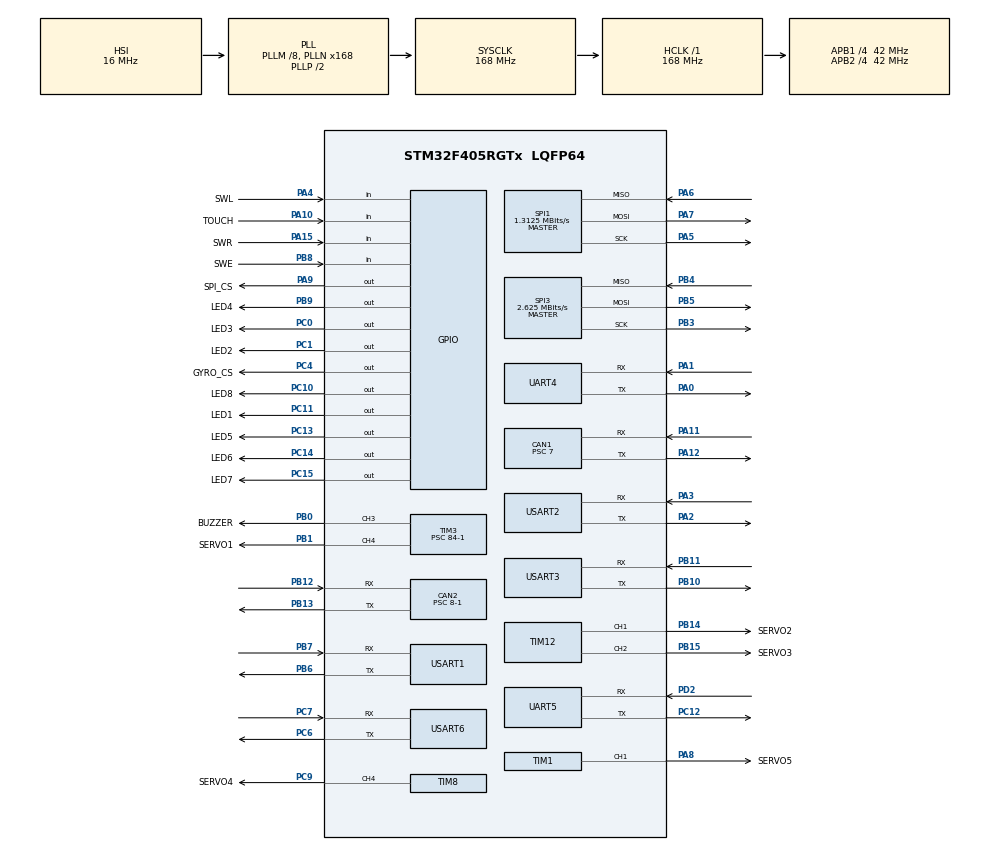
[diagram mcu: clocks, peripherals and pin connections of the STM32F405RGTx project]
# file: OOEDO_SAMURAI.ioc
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CAN1.ABOM=ENABLE
CAN1.BS1=CAN_BS1_2TQ
CAN1.BS2=CAN_BS2_3TQ
CAN1.CalculateTimeQuantum=166.66666666666669
CAN1.Prescaler=7
CAN1.TXFP=ENABLE
CAN2.ABOM=ENABLE
CAN2.BS1=CAN_BS1_2TQ
CAN2.BS2=CAN_BS2_3TQ
CAN2.CalculateTimeQuantum=166.66666666666669
CAN2.Prescaler=8-1
CAN2.TXFP=ENABLE
Dma.Request0=UART4_RX
Dma.Request1=UART4_TX
Dma.UART4_RX.0.Direction=DMA_PERIPH_TO_MEMORY
Dma.UART4_RX.0.FIFOMode=DMA_FIFOMODE_DISABLE
Dma.UART4_RX.0.Instance=DMA1_Stream2
Dma.UART4_RX.0.MemDataAlignment=DMA_MDATAALIGN_BYTE
Dma.UART4_RX.0.MemInc=DMA_MINC_ENABLE
Dma.UART4_RX.0.Mode=DMA_CIRCULAR
Dma.UART4_RX.0.PeriphDataAlignment=DMA_PDATAALIGN_BYTE
Dma.UART4_RX.0.PeriphInc=DMA_PINC_DISABLE
Dma.UART4_RX.0.Priority=DMA_PRIORITY_VERY_HIGH
Dma.UART4_TX.1.Direction=DMA_MEMORY_TO_PERIPH
Dma.UART4_TX.1.FIFOMode=DMA_FIFOMODE_DISABLE
Dma.UART4_TX.1.Instance=DMA1_Stream4
Dma.UART4_TX.1.MemDataAlignment=DMA_MDATAALIGN_BYTE
Dma.UART4_TX.1.MemInc=DMA_MINC_ENABLE
Dma.UART4_TX.1.Mode=DMA_NORMAL
Dma.UART4_TX.1.PeriphDataAlignment=DMA_PDATAALIGN_BYTE
Dma.UART4_TX.1.PeriphInc=DMA_PINC_DISABLE
Dma.UART4_TX.1.Priority=DMA_PRIORITY_LOW
Mcu.Family=STM32F4
Mcu.Name=STM32F405RGTx
Mcu.Package=LQFP64
NVIC.CAN1_RX0_IRQn=true\:2\:0\:true\:false\:true\:true\:true
NVIC.CAN1_RX1_IRQn=true\:2\:0\:true\:false\:true\:true\:true
NVIC.CAN2_RX0_IRQn=true\:2\:0\:true\:false\:true\:true\:true
NVIC.CAN2_RX1_IRQn=true\:2\:0\:true\:false\:true\:true\:true
NVIC.DMA1_Stream2_IRQn=true\:0\:0\:false\:false\:true\:false\:true
NVIC.DMA1_Stream4_IRQn=true\:0\:0\:false\:false\:true\:false\:true
NVIC.PriorityGroup=NVIC_PRIORITYGROUP_4
NVIC.TIM6_DAC_IRQn=true\:1\:0\:true\:false\:true\:true\:true
NVIC.TIM7_IRQn=true\:0\:0\:false\:false\:true\:true\:true
NVIC.UART5_IRQn=true\:0\:0\:true\:false\:true\:true\:true
NVIC.USART1_IRQn=true\:0\:0\:true\:false\:true\:true\:true
NVIC.USART2_IRQn=true\:0\:0\:true\:false\:true\:true\:true
NVIC.USART3_IRQn=true\:0\:0\:true\:false\:true\:true\:true
NVIC.USART6_IRQn=true\:0\:0\:true\:false\:true\:true\:true
PA0-WKUP.Mode=Asynchronous
PA0-WKUP.Signal=UART4_TX
PA1.Mode=Asynchronous
PA1.Signal=UART4_RX
PA10.GPIO_Label=TOUCH
PA10.GPIO_PuPd=GPIO_PULLUP
PA10.Signal=GPIO_Input
PA11.Mode=Master
PA11.Signal=CAN1_RX
PA12.Mode=Master
PA12.Signal=CAN1_TX
PA13.Mode=Serial_Wire
PA13.Signal=SYS_JTMS-SWDIO
PA14.Mode=Serial_Wire
PA14.Signal=SYS_JTCK-SWCLK
PA15.GPIO_Label=SWR
PA15.GPIO_PuPd=GPIO_PULLUP
PA15.Signal=GPIO_Input
PA2.Mode=Asynchronous
PA2.Signal=USART2_TX
PA3.Mode=Asynchronous
PA3.Signal=USART2_RX
PA4.GPIO_Label=SWL
PA4.GPIO_PuPd=GPIO_PULLUP
PA4.Signal=GPIO_Input
PA5.Mode=Full_Duplex_Master
PA5.Signal=SPI1_SCK
PA6.Mode=Full_Duplex_Master
PA6.Signal=SPI1_MISO
PA7.Mode=Full_Duplex_Master
PA7.Signal=SPI1_MOSI
PA8.GPIO_Label=SERVO5
PA8.Signal=S_TIM1_CH1
PA9.GPIO_Label=SPI_CS
PA9.Signal=GPIO_Output
PB0.GPIO_Label=BUZZER
PB0.Signal=S_TIM3_CH3
PB1.GPIO_Label=SERVO1
PB1.Signal=S_TIM3_CH4
PB10.Mode=Asynchronous
PB10.Signal=USART3_TX
PB11.Mode=Asynchronous
PB11.Signal=USART3_RX
PB12.Mode=Slave
PB12.Signal=CAN2_RX
PB13.Mode=Slave
PB13.Signal=CAN2_TX
PB14.GPIO_Label=SERVO2
PB14.Signal=S_TIM12_CH1
PB15.GPIO_Label=SERVO3
PB15.Signal=S_TIM12_CH2
PB3.Mode=Full_Duplex_Master
PB3.Signal=SPI3_SCK
PB4.Mode=Full_Duplex_Master
PB4.Signal=SPI3_MISO
PB5.Mode=Full_Duplex_Master
PB5.Signal=SPI3_MOSI
PB6.Mode=Asynchronous
PB6.Signal=USART1_TX
PB7.Mode=Asynchronous
PB7.Signal=USART1_RX
PB8.GPIO_Label=SWE
PB8.GPIO_PuPd=GPIO_PULLUP
PB8.Signal=GPIO_Input
PB9.GPIO_Label=LED4
PB9.Signal=GPIO_Output
PC0.GPIO_Label=LED3
PC0.Signal=GPIO_Output
PC1.GPIO_Label=LED2
PC1.GPIO_PuPd=GPIO_PULLDOWN
PC1.Signal=GPIO_Output
PC10.GPIO_Label=LED8
PC10.Signal=GPIO_Output
PC11.GPIO_Label=LED1
PC11.Signal=GPIO_Output
PC12.Mode=Asynchronous
PC12.Signal=UART5_TX
PC13-ANTI_TAMP.GPIO_Label=LED5
PC13-ANTI_TAMP.Signal=GPIO_Output
PC14-OSC32_IN.GPIO_Label=LED6
PC14-OSC32_IN.Signal=GPIO_Output
PC15-OSC32_OUT.GPIO_Label=LED7
PC15-OSC32_OUT.Signal=GPIO_Output
PC4.GPIO_Label=GYRO_CS
PC4.Signal=GPIO_Output
PC6.Mode=Asynchronous
PC6.Signal=USART6_TX
PC7.Mode=Asynchronous
PC7.Signal=USART6_RX
PC9.GPIO_Label=SERVO4
PC9.Signal=S_TIM8_CH4
PD2.Mode=Asynchronous
PD2.Signal=UART5_RX
PH0-OSC_IN.Mode=HSE-External-Oscillator
PH0-OSC_IN.Signal=RCC_OSC_IN
PH1-OSC_OUT.Mode=HSE-External-Oscillator
PH1-OSC_OUT.Signal=RCC_OSC_OUT
ProjectManager.HeapSize=0x200
ProjectManager.StackSize=0x400
ProjectManager.TargetToolchain=STM32CubeIDE
RCC.48MHZClocksFreq_Value=84000000
RCC.AHBFreq_Value=168000000
RCC.APB1CLKDivider=RCC_HCLK_DIV4
RCC.APB1Freq_Value=42000000
RCC.APB1TimFreq_Value=84000000
RCC.APB2CLKDivider=RCC_HCLK_DIV4
RCC.APB2Freq_Value=42000000
RCC.APB2TimFreq_Value=84000000
RCC.CortexFreq_Value=168000000
RCC.HCLKFreq_Value=168000000
RCC.HSE_VALUE=12000000
RCC.HSI_VALUE=16000000
RCC.LSE_VALUE=32768
RCC.PLLM=8
RCC.PLLN=168
RCC.SYSCLKFreq_VALUE=168000000
RCC.SYSCLKSource=RCC_SYSCLKSOURCE_PLLCLK
RCC.VCOOutputFreq_Value=336000000
SH.S_TIM12_CH1.0=TIM12_CH1,PWM Generation1 CH1
SH.S_TIM12_CH2.0=TIM12_CH2,PWM Generation2 CH2
SH.S_TIM1_CH1.0=TIM1_CH1,PWM Generation1 CH1
SH.S_TIM3_CH3.0=TIM3_CH3,PWM Generation3 CH3
SH.S_TIM3_CH4.0=TIM3_CH4,PWM Generation4 CH4
SH.S_TIM8_CH4.0=TIM8_CH4,PWM Generation4 CH4
SPI1.BaudRatePrescaler=SPI_BAUDRATEPRESCALER_32
SPI1.CLKPhase=SPI_PHASE_2EDGE
SPI1.CLKPolarity=SPI_POLARITY_HIGH
SPI1.CalculateBaudRate=1.3125 MBits/s
SPI1.Direction=SPI_DIRECTION_2LINES
SPI1.Mode=SPI_MODE_MASTER
SPI1.VirtualType=VM_MASTER
SPI3.BaudRatePrescaler=SPI_BAUDRATEPRESCALER_16
SPI3.CalculateBaudRate=2.625 MBits/s
SPI3.Direction=SPI_DIRECTION_2LINES
SPI3.Mode=SPI_MODE_MASTER
SPI3.VirtualType=VM_MASTER
TIM1.Channel-PWM\ Generation1\ CH1=TIM_CHANNEL_1
TIM1.Period=1000
TIM1.Prescaler=168-1
TIM12.Channel-PWM\ Generation1\ CH1=TIM_CHANNEL_1
TIM12.Channel-PWM\ Generation2\ CH2=TIM_CHANNEL_2
TIM2.Period=1000
TIM2.Prescaler=84-1
TIM3.Channel-PWM\ Generation3\ CH3=TIM_CHANNEL_3
TIM3.Channel-PWM\ Generation4\ CH4=TIM_CHANNEL_4
TIM3.Period=1000
TIM3.Prescaler=84-1
TIM6.AutoReloadPreload=TIM_AUTORELOAD_PRELOAD_DISABLE
TIM6.Period=1000
TIM6.Prescaler=840-1
TIM7.Period=1000
TIM7.Prescaler=84-1
TIM8.Channel-PWM\ Generation4\ CH4=TIM_CHANNEL_4
TIM8.Period=1000
TIM8.Prescaler=168-1
UART4.VirtualMode=Asynchronous
UART5.VirtualMode=Asynchronous
USART1.VirtualMode=VM_ASYNC
USART2.VirtualMode=VM_ASYNC
USART3.VirtualMode=VM_ASYNC
USART6.VirtualMode=VM_ASYNC
VP_TIM12_VS_ClockSourceINT.Mode=Internal
VP_TIM1_VS_ClockSourceINT.Mode=Internal
VP_TIM2_VS_ClockSourceINT.Mode=Internal
VP_TIM3_VS_ClockSourceINT.Mode=Internal
VP_TIM6_VS_ClockSourceINT.Mode=Enable_Timer
VP_TIM7_VS_ClockSourceINT.Mode=Enable_Timer
board=custom

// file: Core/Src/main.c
/* USER CODE BEGIN Header */
/**
  ******************************************************************************
  * @file           : main.c
  * @brief          : Main program body
  ******************************************************************************
  * @attention
  *
  * <h2><center>&copy; Copyright (c) 2020 STMicroelectronics.
  * All rights reserved.</center></h2>
  *
  * This software component is licensed by ST under BSD 3-Clause license,
  * the "License"; You may not use this file except in compliance with the
  * License. You may obtain a copy of the License at:
  *                        opensource.org/licenses/BSD-3-Clause
  *
  ******************************************************************************
  */
/* USER CODE END Header */
#include "main.h"
#include "can.h"
#include "dma.h"
#include "spi.h"
#include "tim.h"
#include "usart.h"
#include "gpio.h"

/* USER CODE BEGIN Includes */
#include "gyro.h"

/* USER CODE END Includes */

/* USER CODE BEGIN PV */
uint16_t can1_count = 0;
uint16_t can2_count = 0;
uint8_t tx_data[8];
uint8_t rx_data[8];
CAN_RxHeaderTypeDef canRxHeader;
uint16_t can2_clear = 0;
uint8_t speed = 0x88;
uint8_t swl_state = 0;
uint8_t swe_state = 1;
uint8_t swr_state = 0;

uint8_t check_who_am_i = 0;
uint8_t who_am_i = 0;
uint8_t check_count = 0;

uint16_t uart1_count = 0;
uint16_t uart2_count = 0;
uint16_t uart3_count = 0;
uint16_t uart4_count = 0;
uint16_t uart5_count = 0;
uint16_t uart6_count = 0;
uint16_t all_uart_count = 0;

uint8_t tx_uart[2] = {0x00, 0x00};
uint8_t rx_uart[2];
uint8_t time_count = 0;

//For Gyro Test
float g_angle_pitch = 0.0f;
float g_angle_roll  = 0.0f;
float g_angle_yaw = 0.0f;
float g_omega_pitch = 0.0f;
float g_omega_roll  = 0.0f;
float g_omega_yaw = 0.0f;
uint16_t main_loop = 0;

//for New ESC
uint16_t friction_speed = 0;
uint16_t friction_ob_speed = 0;

/* USER CODE END PV */

void SystemClock_Config(void);
/* USER CODE BEGIN PFP */
void initFriction(void);
/* USER CODE END PFP */

/* USER CODE BEGIN 0 */
void HAL_TIM_PeriodElapsedCallback(TIM_HandleTypeDef *htim)
{
	if (htim->Instance == htim6.Instance) {
		time_count++;

		if(friction_speed > friction_ob_speed)			friction_speed--;
		else if(friction_speed < friction_ob_speed)		friction_speed++;
		__HAL_TIM_SET_COMPARE(&htim3, TIM_CHANNEL_1, 	friction_speed);
		__HAL_TIM_SET_COMPARE(&htim3, TIM_CHANNEL_2, 	friction_speed);

	}
	if(time_count == 0)	{
		HAL_GPIO_TogglePin(LED5_GPIO_Port, LED5_Pin);
		HAL_GPIO_TogglePin(LED6_GPIO_Port, LED6_Pin);
	}

}

void HAL_UART_RxCpltCallback(UART_HandleTypeDef *UartHandle) {
	all_uart_count++;

	if (UartHandle->Instance == huart1.Instance) {	//Propo-receive Interrupts
		uart1_count++;
		HAL_UART_Receive_IT(&huart1, rx_uart, 2);
	}
	else if (UartHandle->Instance == huart2.Instance) {
		uart2_count++;
		HAL_UART_Receive_IT(&huart2, rx_uart, 2);
	}
	else if (UartHandle->Instance == huart3.Instance) {
		uart3_count++;
		HAL_UART_Receive_IT(&huart3, rx_uart, 2);
	}
	else if (UartHandle->Instance == huart4.Instance) {
		uart4_count++;
		HAL_UART_Receive_IT(&huart4, rx_uart, 2);
	}
	else if (UartHandle->Instance == huart5.Instance) {
		uart5_count++;
		HAL_UART_Receive_IT(&huart5, rx_uart, 2);
	}
	else if (UartHandle->Instance == huart6.Instance) {
		uart6_count++;
		HAL_UART_Receive_IT(&huart6, rx_uart, 2);
	}
	if(all_uart_count % 5 == 0){
		HAL_GPIO_TogglePin(LED1_GPIO_Port, LED1_Pin);
		HAL_GPIO_TogglePin(LED2_GPIO_Port, LED2_Pin);

	}
}

void HAL_UART_TxCpltCallback(UART_HandleTypeDef *UartHandle) {
	if (UartHandle->Instance == huart3.Instance) {
		//Custom_data_Transmit
	}
}

//can fifo0 receive interrupt
void HAL_CAN_RxFifo0MsgPendingCallback(CAN_HandleTypeDef *hcan)
{
	/* Get RX message */
	if (hcan->Instance == hcan2.Instance)
	{// can2 bus receive interrupt
		can2_count++;
		HAL_CAN_GetRxMessage(hcan, CAN_RX_FIFO0, &canRxHeader, rx_data);
		//check ESC identifier
		if(canRxHeader.StdId == 0x1ff){
			can2_clear++;
		}
	}
	if (hcan->Instance == hcan1.Instance)
	{// can1 bus receive interrupt
		can1_count++;
	}

	if(can2_clear % 5 == 0){
		HAL_GPIO_TogglePin(LED3_GPIO_Port, LED3_Pin);
		HAL_GPIO_TogglePin(LED4_GPIO_Port, LED4_Pin);

	}
}

void initCanFilter() {
	CAN_FilterTypeDef sFilterConfig;
	sFilterConfig.FilterBank = 0;
	sFilterConfig.FilterMode = CAN_FILTERMODE_IDMASK;
	sFilterConfig.FilterScale = CAN_FILTERSCALE_32BIT;
	sFilterConfig.FilterIdHigh = 0x0000;
	sFilterConfig.FilterIdLow = 0x0000;
	sFilterConfig.FilterMaskIdHigh = 0x0000;
	sFilterConfig.FilterMaskIdLow = 0x0000;
	sFilterConfig.FilterFIFOAssignment = CAN_RX_FIFO0;
	sFilterConfig.FilterActivation = ENABLE;
	sFilterConfig.SlaveStartFilterBank = 0;

	HAL_CAN_ConfigFilter(&hcan1, &sFilterConfig);

	sFilterConfig.SlaveStartFilterBank = 0;
	sFilterConfig.FilterBank = 0;

	HAL_CAN_ConfigFilter(&hcan2, &sFilterConfig);
}

void initGyro(void) {
	uint8_t who_am_i = ReadByte(ADDRESS_WHO_AM_I);

	if(who_am_i != VALUE_WHO_AM_I)
	{
		who_am_i = ReadByte(ADDRESS_WHO_AM_I);
		check_who_am_i = who_am_i;
		while(who_am_i != VALUE_WHO_AM_I){
			who_am_i = ReadByte(ADDRESS_WHO_AM_I);
			HAL_Delay(100);
			check_count++;
		}
	}

	check_who_am_i = who_am_i;
	WriteByte(ADDRESS_REG_BANK_SEL,VALUE_USER_BANK_0);
	HAL_Delay(10);
/*
 	WriteByte(0x03,0x78);
	HAL_Delay(10);
*/
  	WriteByte(ADDRESS_PWR_MGMT_1,RESET_PWR_MGMT_1);
	HAL_Delay(10);
	WriteByte(ADDRESS_PWR_MGMT_1,VALUE_PWR_MGMT_1);
	HAL_Delay(10);
	WriteByte(ADDRESS_PWR_MGMT_2,VALUE_PWR_MGMT_2);
	HAL_Delay(10);
	WriteByte(ADDRESS_CONFIG,VALUE_CONFIG);
	HAL_Delay(10);

	WriteByte(ADDRESS_REG_BANK_SEL,VALUE_USER_BANK_2);
	HAL_Delay(10);
	WriteByte(ADDRESS_GYRO_CONFIG1,VALUE_GYRO_CONFIG1);
	HAL_Delay(10);
	WriteByte(ADDRESS_GYRO_SMPLRT_DIV,VALUE_GYRO_SMPLRT_DIV);
	HAL_Delay(10);
	WriteByte(ADDRESS_GYRO_CONFIG2,VALUE_GYRO_CONFIG2);
	HAL_Delay(10);

	WriteByte(ADDRESS_REG_BANK_SEL,VALUE_USER_BANK_0);
	HAL_Delay(10);
	WriteByte(ADDRESS_PWR_MGMT_1,VALUE_LOW_POWER);
	HAL_Delay(10);
}

void transCAN()
{
	CAN_TxHeaderTypeDef header;
	uint32_t TxMailbox;
	uint8_t i;

	header.StdId = 0x1ff;
	header.RTR = CAN_RTR_DATA;
	header.IDE = CAN_ID_STD;
	header.DLC = 8;
	for(i=0;i<8;i++){
		tx_data[i] = 2*i;
	}
	HAL_CAN_AddTxMessage(&hcan1, &header, tx_data, &TxMailbox);
}

uint8_t selectMode() {
	uint8_t mode;
	while(swe_state == HAL_GPIO_ReadPin(SWE_GPIO_Port, SWE_Pin)){
	  if(swl_state != HAL_GPIO_ReadPin(SWL_GPIO_Port, SWL_Pin))
	  {
		  mode++;
		  swl_state = HAL_GPIO_ReadPin(SWL_GPIO_Port, SWL_Pin);
	  }
	  if(swr_state != HAL_GPIO_ReadPin(SWR_GPIO_Port, SWR_Pin))
	  {
		  mode--;
		  swr_state = HAL_GPIO_ReadPin(SWR_GPIO_Port, SWR_Pin);
	  }

	  if(mode > 252)	mode = 0;
	  mode = mode % 9;

//	  showMode(mode);
//	  printf("mode:%d\n",mode);
	  HAL_Delay(10);
	}
	return mode;
//	printf("START-mode%d\n",mode);
}

void showMode(uint8_t val)
{
	HAL_GPIO_WritePin(LED8_GPIO_Port, LED8_Pin, val == 8);
	HAL_GPIO_WritePin(LED7_GPIO_Port, LED7_Pin, val == 7);
	HAL_GPIO_WritePin(LED6_GPIO_Port, LED6_Pin, val == 6);
	HAL_GPIO_WritePin(LED5_GPIO_Port, LED5_Pin, val == 5);
	HAL_GPIO_WritePin(LED4_GPIO_Port, LED4_Pin, val == 4);
	HAL_GPIO_WritePin(LED3_GPIO_Port, LED3_Pin, val == 3);
	HAL_GPIO_WritePin(LED2_GPIO_Port, LED2_Pin, val == 2);
	HAL_GPIO_WritePin(LED1_GPIO_Port, LED1_Pin, val == 1);
}

int __io_putchar(int c) {
  if( c == '\n' ) {
    int _c = '\r';
    HAL_UART_Transmit(&huart3, &_c, 1, 1);
  }
  HAL_UART_Transmit(&huart3, &c, 1, 1);
  return 0;
}

/* USER CODE END 0 */

int main(void)
{

  /* MCU Configuration--------------------------------------------------------*/

  /* Reset of all peripherals, Initializes the Flash interface and the Systick. */
  HAL_Init();

  /* Configure the system clock */
  SystemClock_Config();

  /* Initialize all configured peripherals */
  MX_GPIO_Init();
  MX_DMA_Init();
  MX_CAN1_Init();
  MX_CAN2_Init();
  MX_TIM1_Init();
  MX_TIM2_Init();
  MX_TIM3_Init();
  MX_TIM6_Init();
  MX_TIM8_Init();
  MX_TIM12_Init();
  MX_UART4_Init();
  MX_UART5_Init();
  MX_USART1_UART_Init();
  MX_USART2_UART_Init();
  MX_USART3_UART_Init();
  MX_USART6_UART_Init();
  MX_SPI3_Init();
  MX_TIM7_Init();
  MX_SPI1_Init();
  /* USER CODE BEGIN 2 */
  HAL_GPIO_WritePin(LED8_GPIO_Port, LED8_Pin, 1);
  HAL_GPIO_WritePin(LED7_GPIO_Port, LED7_Pin, 1);

  initCanFilter();
//  initGyro();

  HAL_TIM_PWM_Start(&htim3, TIM_CHANNEL_1); // friction wheel
  HAL_TIM_PWM_Start(&htim3, TIM_CHANNEL_2);
  initFriction();

  HAL_Delay(100);
  HAL_GPIO_WritePin(LED6_GPIO_Port, LED6_Pin, 1);
  HAL_GPIO_WritePin(LED5_GPIO_Port, LED5_Pin, 1);

  HAL_CAN_Start(&hcan1);
  HAL_CAN_Start(&hcan2);
  HAL_CAN_ActivateNotification(&hcan1, CAN_IT_RX_FIFO0_MSG_PENDING);
  HAL_CAN_ActivateNotification(&hcan2, CAN_IT_RX_FIFO0_MSG_PENDING);

  HAL_Delay(100);
  HAL_GPIO_WritePin(LED4_GPIO_Port, LED4_Pin, 1);
  HAL_GPIO_WritePin(LED3_GPIO_Port, LED3_Pin, 1);

  HAL_TIM_Base_Start_IT(&htim6);

  HAL_Delay(100);
  HAL_GPIO_WritePin(LED2_GPIO_Port, LED2_Pin, 1);
  HAL_GPIO_WritePin(LED1_GPIO_Port, LED1_Pin, 1);

//	HAL_UART_Receive_DMA(&huart4, rx_uart, 2);
//printf("OOEDO_SAMURAI_BEGINNING\n");
/*
  HAL_UART_Receive_IT(&huart1, rx_uart, 2);
  HAL_UART_Receive_IT(&huart2, rx_uart, 2);
  HAL_UART_Receive_IT(&huart3, rx_uart, 2);
  HAL_UART_Receive_IT(&huart4, rx_uart, 2);
  HAL_UART_Receive_IT(&huart5, rx_uart, 2);
  HAL_UART_Receive_IT(&huart6, rx_uart, 2);
*/
  MelodySummer();

  /* USER CODE END 2 */

  /* Infinite loop */
  while (1)
  {

    /* USER CODE BEGIN 3 */

		  main_loop++;
		  HAL_UART_Transmit(&huart1,tx_uart,2,1);
		  HAL_UART_Transmit(&huart2,tx_uart,2,1);
		  HAL_UART_Transmit(&huart3,tx_uart,2,1);
		  HAL_UART_Transmit(&huart4,tx_uart,2,1);
		  HAL_UART_Transmit(&huart5,tx_uart,2,1);
		  HAL_UART_Transmit(&huart6,tx_uart,2,1);

		  transCAN();
		  HAL_GPIO_TogglePin(LED7_GPIO_Port, LED7_Pin);
		  HAL_GPIO_TogglePin(LED8_GPIO_Port, LED8_Pin);

		  HAL_Delay(500);

//	  selectMode();
/*	  speed = 50;

	  tx_uart[0] = time_count;
//	  HAL_UART_Transmit(&huart1,tx_uart, 2, 1);
//	  HAL_UART_Transmit(&huart3,tx_uart,2,1);

	  transCAN();
*/
  }
  /* USER CODE END 3 */
}

void SystemClock_Config(void)
{
  RCC_OscInitTypeDef RCC_OscInitStruct = {0};
  RCC_ClkInitTypeDef RCC_ClkInitStruct = {0};

  /** Configure the main internal regulator output voltage
  */
  __HAL_RCC_PWR_CLK_ENABLE();
  __HAL_PWR_VOLTAGESCALING_CONFIG(PWR_REGULATOR_VOLTAGE_SCALE1);
  /** Initializes the RCC Oscillators according to the specified parameters
  * in the RCC_OscInitTypeDef structure.
  */
  RCC_OscInitStruct.OscillatorType = RCC_OSCILLATORTYPE_HSI;
  RCC_OscInitStruct.HSIState = RCC_HSI_ON;
  RCC_OscInitStruct.HSICalibrationValue = RCC_HSICALIBRATION_DEFAULT;
  RCC_OscInitStruct.PLL.PLLState = RCC_PLL_ON;
  RCC_OscInitStruct.PLL.PLLSource = RCC_PLLSOURCE_HSI;
  RCC_OscInitStruct.PLL.PLLM = 8;
  RCC_OscInitStruct.PLL.PLLN = 168;
  RCC_OscInitStruct.PLL.PLLP = RCC_PLLP_DIV2;
  RCC_OscInitStruct.PLL.PLLQ = 4;
  if (HAL_RCC_OscConfig(&RCC_OscInitStruct) != HAL_OK)
  {
    Error_Handler();
  }
  /** Initializes the CPU, AHB and APB buses clocks
  */
  RCC_ClkInitStruct.ClockType = RCC_CLOCKTYPE_HCLK|RCC_CLOCKTYPE_SYSCLK
                              |RCC_CLOCKTYPE_PCLK1|RCC_CLOCKTYPE_PCLK2;
  RCC_ClkInitStruct.SYSCLKSource = RCC_SYSCLKSOURCE_PLLCLK;
  RCC_ClkInitStruct.AHBCLKDivider = RCC_SYSCLK_DIV1;
  RCC_ClkInitStruct.APB1CLKDivider = RCC_HCLK_DIV4;
  RCC_ClkInitStruct.APB2CLKDivider = RCC_HCLK_DIV4;

  if (HAL_RCC_ClockConfig(&RCC_ClkInitStruct, FLASH_LATENCY_5) != HAL_OK)
  {
    Error_Handler();
  }
}

/* USER CODE BEGIN 4 */
void initFriction() {
	__HAL_TIM_SET_COMPARE(&htim3, TIM_CHANNEL_2, 250);
	__HAL_TIM_SET_COMPARE(&htim3, TIM_CHANNEL_1, 250);
	HAL_Delay(500);
	__HAL_TIM_SET_COMPARE(&htim3, TIM_CHANNEL_2, 125);
	__HAL_TIM_SET_COMPARE(&htim3, TIM_CHANNEL_1, 125);
	HAL_Delay(500);

	friction_ob_speed = 125;
	friction_ob_speed = 250;
}
/* USER CODE END 4 */

void Error_Handler(void)
{
}

/************************ (C) COPYRIGHT STMicroelectronics *****END OF FILE****/
